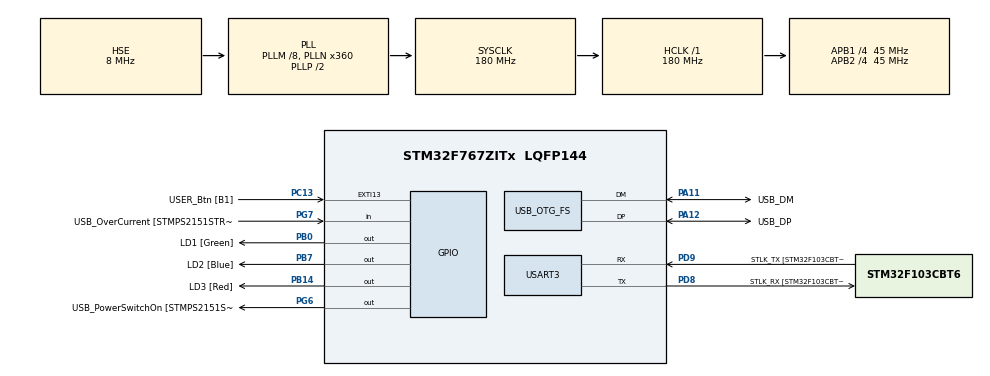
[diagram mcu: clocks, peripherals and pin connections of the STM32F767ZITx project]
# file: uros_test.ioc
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Dma.Request0=USART3_RX
Dma.Request1=USART3_TX
Dma.USART3_RX.0.Direction=DMA_PERIPH_TO_MEMORY
Dma.USART3_RX.0.FIFOMode=DMA_FIFOMODE_DISABLE
Dma.USART3_RX.0.Instance=DMA1_Stream1
Dma.USART3_RX.0.MemDataAlignment=DMA_MDATAALIGN_BYTE
Dma.USART3_RX.0.MemInc=DMA_MINC_ENABLE
Dma.USART3_RX.0.Mode=DMA_CIRCULAR
Dma.USART3_RX.0.PeriphDataAlignment=DMA_PDATAALIGN_BYTE
Dma.USART3_RX.0.PeriphInc=DMA_PINC_DISABLE
Dma.USART3_RX.0.Priority=DMA_PRIORITY_VERY_HIGH
Dma.USART3_TX.1.Direction=DMA_MEMORY_TO_PERIPH
Dma.USART3_TX.1.FIFOMode=DMA_FIFOMODE_DISABLE
Dma.USART3_TX.1.Instance=DMA1_Stream3
Dma.USART3_TX.1.MemDataAlignment=DMA_MDATAALIGN_BYTE
Dma.USART3_TX.1.MemInc=DMA_MINC_ENABLE
Dma.USART3_TX.1.Mode=DMA_NORMAL
Dma.USART3_TX.1.PeriphDataAlignment=DMA_PDATAALIGN_BYTE
Dma.USART3_TX.1.PeriphInc=DMA_PINC_DISABLE
Dma.USART3_TX.1.Priority=DMA_PRIORITY_VERY_HIGH
FREERTOS.Tasks01=defaultTask,24,3000,StartDefaultTask,Default,NULL,Static,defaultTaskBuffer,defaultTaskControlBlock
Mcu.Family=STM32F7
Mcu.Name=STM32F767ZITx
Mcu.Package=LQFP144
NVIC.DMA1_Stream1_IRQn=true\:5\:0\:false\:false\:true\:true\:false\:true\:true
NVIC.DMA1_Stream3_IRQn=true\:5\:0\:false\:false\:true\:true\:false\:true\:true
NVIC.OTG_FS_IRQn=true\:5\:0\:false\:false\:true\:true\:false\:true\:true
NVIC.PriorityGroup=NVIC_PRIORITYGROUP_4
NVIC.TIM1_UP_TIM10_IRQn=true\:15\:0\:false\:false\:true\:false\:false\:true\:true
NVIC.TimeBase=TIM1_UP_TIM10_IRQn
NVIC.TimeBaseIP=TIM1
NVIC.USART3_IRQn=true\:5\:0\:false\:false\:true\:true\:true\:true\:true
PA1.GPIO_Label=RMII_REF_CLK [LAN8742A-CZ-TR_REFCLK0]
PA1.Signal=ETH_REF_CLK
PA10.GPIO_Label=USB_ID
PA10.Signal=USB_OTG_FS_ID
PA11.GPIO_Label=USB_DM
PA11.Mode=Device_Only
PA11.Signal=USB_OTG_FS_DM
PA12.GPIO_Label=USB_DP
PA12.Mode=Device_Only
PA12.Signal=USB_OTG_FS_DP
PA13.GPIO_Label=TMS
PA13.Signal=SYS_JTMS-SWDIO
PA14.GPIO_Label=TCK
PA14.Signal=SYS_JTCK-SWCLK
PA2.GPIO_Label=RMII_MDIO [LAN8742A-CZ-TR_MDIO]
PA2.Signal=ETH_MDIO
PA7.GPIO_Label=RMII_CRS_DV [LAN8742A-CZ-TR_CRS_DV]
PA7.Signal=ETH_CRS_DV
PA8.GPIO_Label=USB_SOF [TP1]
PA8.Signal=USB_OTG_FS_SOF
PA9.GPIO_Label=USB_VBUS
PA9.Signal=USB_OTG_FS_VBUS
PB0.GPIO_Label=LD1 [Green]
PB0.Signal=GPIO_Output
PB13.GPIO_Label=RMII_TXD1 [LAN8742A-CZ-TR_TXD1]
PB13.Signal=ETH_TXD1
PB14.GPIO_Label=LD3 [Red]
PB14.Signal=GPIO_Output
PB3.GPIO_Label=SW0
PB3.Signal=SYS_JTDO-SWO
PB7.GPIO_Label=LD2 [Blue]
PB7.Signal=GPIO_Output
PC1.GPIO_Label=RMII_MDC [LAN8742A-CZ-TR_MDC]
PC1.Signal=ETH_MDC
PC13.GPIO_Label=USER_Btn [B1]
PC13.Signal=GPXTI13
PC14/OSC32_IN.Signal=RCC_OSC32_IN
PC15/OSC32_OUT.Signal=RCC_OSC32_OUT
PC4.GPIO_Label=RMII_RXD0 [LAN8742A-CZ-TR_RXD0]
PC4.Signal=ETH_RXD0
PC5.GPIO_Label=RMII_RXD1 [LAN8742A-CZ-TR_RXD1]
PC5.Signal=ETH_RXD1
PD8.GPIO_Label=STLK_RX [STM32F103CBT6_PA3]
PD8.Mode=Asynchronous
PD8.Signal=USART3_TX
PD9.GPIO_Label=STLK_TX [STM32F103CBT6_PA2]
PD9.Mode=Asynchronous
PD9.Signal=USART3_RX
PG11.GPIO_Label=RMII_TX_EN [LAN8742A-CZ-TR_TXEN]
PG11.Signal=ETH_TX_EN
PG13.GPIO_Label=RMII_TXD0 [LAN8742A-CZ-TR_TXD0]
PG13.Signal=ETH_TXD0
PG6.GPIO_Label=USB_PowerSwitchOn [STMPS2151STR_EN]
PG6.Signal=GPIO_Output
PG7.GPIO_Label=USB_OverCurrent [STMPS2151STR_FAULT]
PG7.Signal=GPIO_Input
PH0/OSC_IN.GPIO_Label=MCO [STM32F103CBT6_PA8]
PH0/OSC_IN.Mode=HSE-External-Oscillator
PH0/OSC_IN.Signal=RCC_OSC_IN
PH1/OSC_OUT.Mode=HSE-External-Oscillator
PH1/OSC_OUT.Signal=RCC_OSC_OUT
ProjectManager.HeapSize=0x200
ProjectManager.StackSize=0x400
ProjectManager.TargetToolchain=STM32CubeIDE
RCC.48MHZClocksFreq_Value=24000000
RCC.AHBFreq_Value=180000000
RCC.APB1CLKDivider=RCC_HCLK_DIV4
RCC.APB1Freq_Value=45000000
RCC.APB1TimFreq_Value=90000000
RCC.APB2CLKDivider=RCC_HCLK_DIV4
RCC.APB2Freq_Value=45000000
RCC.APB2TimFreq_Value=90000000
RCC.CortexFreq_Value=180000000
RCC.HCLKFreq_Value=180000000
RCC.HSE_VALUE=8000000
RCC.HSI_VALUE=16000000
RCC.LSE_VALUE=32768
RCC.PLL48CLockSelection=RCC_CLK48SOURCE_PLLSAIP
RCC.PLLM=8
RCC.PLLMUL=RCC_PLL_MUL9
RCC.PLLN=360
RCC.PLLQ=8
RCC.PLLSAIP=RCC_PLLSAIP_DIV4
RCC.PRESCALERUSB=RCC_USBCLKSOURCE_PLL_DIV1_5
RCC.SYSCLKFreq_VALUE=180000000
RCC.SYSCLKSource=RCC_SYSCLKSOURCE_PLLCLK
RCC.SYSCLKSourceVirtual=RCC_SYSCLKSOURCE_PLLCLK
RCC.USBFreq_Value=48000000
RCC.VCOOutputFreq_Value=360000000
USART3.VirtualMode-Asynchronous=VM_ASYNC
USB_DEVICE.CLASS_NAME_FS=CDC
USB_DEVICE.VirtualMode-CDC_FS=Cdc
USB_DEVICE.VirtualModeFS=Cdc_FS
USB_OTG_FS.VirtualMode=Device_Only
VP_FREERTOS_VS_CMSIS_V2.Mode=CMSIS_V2
VP_SYS_VS_tim1.Mode=TIM1
VP_USB_DEVICE_VS_USB_DEVICE_CDC_FS.Mode=CDC_FS
board=NUCLEO-F767ZI

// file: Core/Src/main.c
/* USER CODE BEGIN Header */
/**
  ******************************************************************************
  * @file           : main.c
  * @brief          : Main program body
  ******************************************************************************
  * @attention
  *
  * Copyright (c) 2024 STMicroelectronics.
  * All rights reserved.
  *
  * This software is licensed under terms that can be found in the LICENSE file
  * in the root directory of this software component.
  * If no LICENSE file comes with this software, it is provided AS-IS.
  *
  ******************************************************************************
  */
/* USER CODE END Header */
#include "main.h"
#include "cmsis_os.h"
#include "dma.h"
#include "usart.h"
#include "usb_device.h"
#include "gpio.h"

void SystemClock_Config(void);
void MX_FREERTOS_Init(void);

int main(void)
{

  /* MCU Configuration--------------------------------------------------------*/

  /* Reset of all peripherals, Initializes the Flash interface and the Systick. */
  HAL_Init();

  /* Configure the system clock */
  SystemClock_Config();

  /* Initialize all configured peripherals */
  MX_GPIO_Init();
  MX_DMA_Init();
  MX_USART3_UART_Init();

  /* Init scheduler */
  osKernelInitialize();

  /* Call init function for freertos objects (in cmsis_os2.c) */
  MX_FREERTOS_Init();

  /* Start scheduler */
  osKernelStart();

  /* We should never get here as control is now taken by the scheduler */

  /* Infinite loop */
  while (1)
  {

  }
}

void SystemClock_Config(void)
{
  RCC_OscInitTypeDef RCC_OscInitStruct = {0};
  RCC_ClkInitTypeDef RCC_ClkInitStruct = {0};

  /** Configure the main internal regulator output voltage
  */
  __HAL_RCC_PWR_CLK_ENABLE();
  __HAL_PWR_VOLTAGESCALING_CONFIG(PWR_REGULATOR_VOLTAGE_SCALE1);

  /** Initializes the RCC Oscillators according to the specified parameters
  * in the RCC_OscInitTypeDef structure.
  */
  RCC_OscInitStruct.OscillatorType = RCC_OSCILLATORTYPE_HSE;
  RCC_OscInitStruct.HSEState = RCC_HSE_ON;
  RCC_OscInitStruct.PLL.PLLState = RCC_PLL_ON;
  RCC_OscInitStruct.PLL.PLLSource = RCC_PLLSOURCE_HSE;
  RCC_OscInitStruct.PLL.PLLM = 8;
  RCC_OscInitStruct.PLL.PLLN = 360;
  RCC_OscInitStruct.PLL.PLLP = RCC_PLLP_DIV2;
  RCC_OscInitStruct.PLL.PLLQ = 8;
  RCC_OscInitStruct.PLL.PLLR = 2;
  if (HAL_RCC_OscConfig(&RCC_OscInitStruct) != HAL_OK)
  {
    Error_Handler();
  }

  /** Initializes the CPU, AHB and APB buses clocks
  */
  RCC_ClkInitStruct.ClockType = RCC_CLOCKTYPE_HCLK|RCC_CLOCKTYPE_SYSCLK
                              |RCC_CLOCKTYPE_PCLK1|RCC_CLOCKTYPE_PCLK2;
  RCC_ClkInitStruct.SYSCLKSource = RCC_SYSCLKSOURCE_PLLCLK;
  RCC_ClkInitStruct.AHBCLKDivider = RCC_SYSCLK_DIV1;
  RCC_ClkInitStruct.APB1CLKDivider = RCC_HCLK_DIV4;
  RCC_ClkInitStruct.APB2CLKDivider = RCC_HCLK_DIV4;

  if (HAL_RCC_ClockConfig(&RCC_ClkInitStruct, FLASH_LATENCY_5) != HAL_OK)
  {
    Error_Handler();
  }
}

void HAL_TIM_PeriodElapsedCallback(TIM_HandleTypeDef *htim)
{
  if (htim->Instance == TIM1) {
    HAL_IncTick();
  }
}

void Error_Handler(void)
{
  __disable_irq();
  while (1)
  {
  }
}

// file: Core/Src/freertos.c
/* USER CODE BEGIN Header */
/**
  ******************************************************************************
  * File Name          : freertos.c
  * Description        : Code for freertos applications
  ******************************************************************************
  * @attention
  *
  * Copyright (c) 2024 STMicroelectronics.
  * All rights reserved.
  *
  * This software is licensed under terms that can be found in the LICENSE file
  * in the root directory of this software component.
  * If no LICENSE file comes with this software, it is provided AS-IS.
  *
  ******************************************************************************
  */
/* USER CODE END Header */

#include "FreeRTOS.h"
#include "task.h"
#include "main.h"
#include "cmsis_os.h"

/* USER CODE BEGIN Includes */
#include <stdbool.h>
#include <rcl/rcl.h>
#include <rcl/error_handling.h>
#include <rclc/rclc.h>
#include <rclc/executor.h>
#include <uxr/client/transport.h>
#include <rmw_microxrcedds_c/config.h>
#include <rmw_microros/rmw_microros.h>
#include <std_msgs/msg/int32.h>
#include <std_msgs/msg/string.h>
#include <rosidl_runtime_c/string_functions.h>
#include "usart.h"
/* USER CODE END Includes */

typedef StaticTask_t osStaticThreadDef_t;

/* USER CODE BEGIN PM */
#define RCCHECK(fn) { rcl_ret_t temp_rc = fn; if((temp_rc != RCL_RET_OK)){printf("Failed status on line %d: %d. Aborting.\n",__LINE__,(int)temp_rc);}}
#define RCSOFTCHECK(fn) { rcl_ret_t temp_rc = fn; if((temp_rc != RCL_RET_OK)){printf("Failed status on line %d: %d. Continuing.\n",__LINE__,(int)temp_rc);}}

/* USER CODE END PM */

/* USER CODE BEGIN Variables */
rcl_publisher_t publisher;
rcl_allocator_t allocator;
rclc_support_t support;
rcl_node_t node;
std_msgs__msg__String msg;
/* USER CODE END Variables */
/* Definitions for defaultTask */
osThreadId_t defaultTaskHandle;
uint32_t defaultTaskBuffer[ 3000 ];
osStaticThreadDef_t defaultTaskControlBlock;
const osThreadAttr_t defaultTask_attributes = {
  .name = "defaultTask",
  .cb_mem = &defaultTaskControlBlock,
  .cb_size = sizeof(defaultTaskControlBlock),
  .stack_mem = &defaultTaskBuffer[0],
  .stack_size = sizeof(defaultTaskBuffer),
  .priority = (osPriority_t) osPriorityNormal,
};

/* USER CODE BEGIN FunctionPrototypes */
bool cubemx_transport_open(struct uxrCustomTransport * transport);
bool cubemx_transport_close(struct uxrCustomTransport * transport);
size_t cubemx_transport_write(struct uxrCustomTransport* transport, const uint8_t * buf, size_t len, uint8_t * err);
size_t cubemx_transport_read(struct uxrCustomTransport* transport, uint8_t* buf, size_t len, int timeout, uint8_t* err);

void * microros_allocate(size_t size, void * state);
void microros_deallocate(void * pointer, void * state);
void * microros_reallocate(void * pointer, size_t size, void * state);
void * microros_zero_allocate(size_t number_of_elements, size_t size_of_element, void * state);

/* USER CODE END FunctionPrototypes */

void StartDefaultTask(void *argument);

extern void MX_USB_DEVICE_Init(void);
void MX_FREERTOS_Init(void); /* (MISRA C 2004 rule 8.1) */

void MX_FREERTOS_Init(void) {

  /* Create the thread(s) */
  /* creation of defaultTask */
  defaultTaskHandle = osThreadNew(StartDefaultTask, NULL, &defaultTask_attributes);

}

void StartDefaultTask(void *argument)
{
  /* init code for USB_DEVICE */
  MX_USB_DEVICE_Init();
  /* USER CODE BEGIN StartDefaultTask */
  rmw_uros_set_custom_transport(
    true,
	(void *) &huart3,
	cubemx_transport_open,
	cubemx_transport_close,
	cubemx_transport_write,
	cubemx_transport_read
  );

  rcl_allocator_t freeRTOS_allocator = rcutils_get_zero_initialized_allocator();
  freeRTOS_allocator.allocate = microros_allocate;
  freeRTOS_allocator.deallocate = microros_deallocate;
  freeRTOS_allocator.reallocate = microros_reallocate;
  freeRTOS_allocator.zero_allocate =  microros_zero_allocate;

  if (!rcutils_set_default_allocator(&freeRTOS_allocator)) {
    printf("Error on default allocators (line %d)\n", __LINE__);
  }

  // ここからmicro-ROSのセットアップ
  allocator = rcl_get_default_allocator();
  node = rcl_get_zero_initialized_node();
  //初期化設定の作成
  RCCHECK(rclc_support_init(&support, 0, NULL, &allocator));
  //ノードの作成
  RCCHECK(rclc_node_init_default(&node, "f7_node", "", &support));
  //publisherの作成
  RCCHECK(rclc_publisher_init_default(
    &publisher,
    &node,
    ROSIDL_GET_MSG_TYPE_SUPPORT(std_msgs, msg, String),
    "/from_f767zi"));

  //配列データを扱うときの処理
  int i = 0;
  rosidl_runtime_c__String__init(&msg);
  char hello[128];
  /* Infinite loop */
  for(;;)
  {
	 i++;
	 sprintf(hello,"Hello world from f7:%d",i);
	 rosidl_runtime_c__String__assignn(&msg.data, hello, sizeof(hello));
	 RCSOFTCHECK(rcl_publish(&publisher, &msg, NULL));
	 osDelay(500);
  }
  /* USER CODE END StartDefaultTask */
}
